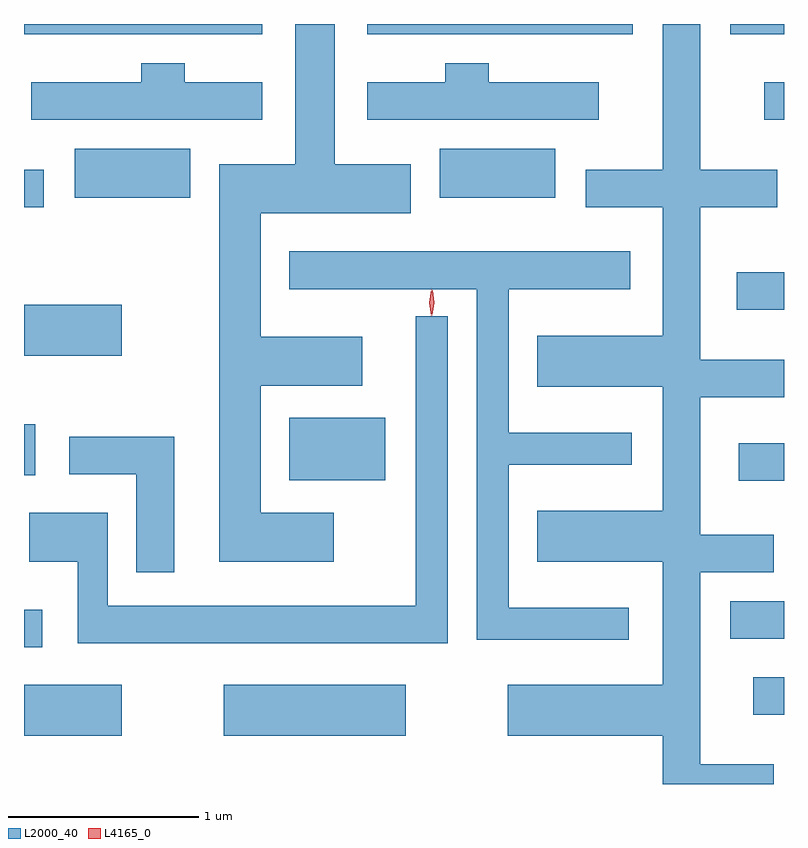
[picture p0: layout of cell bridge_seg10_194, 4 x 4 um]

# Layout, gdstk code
import gdstk
lib = gdstk.Library(unit=1e-6, precision=1e-09)
def R(c, l, rs):  # rectangles x0, y0, x1, y1
    for r in rs: c.add(gdstk.rectangle(r[:2], r[2:], *l))
def P(c, l, *ps):  # polygons
    for p in ps: c.add(gdstk.Polygon(p, *l))
L2000_40 = (2000, 40)
L4165_0 = (4165, 0)

bridge_seg10_194 = lib.new_cell('bridge_seg10_194')
R(bridge_seg10_194, L2000_40, [(1800.449,2139.966,1800.964,2140.234), (1801.501,2139.966,1802.459,2140.234), (1804.286,2140.076,1804.449,2140.274), (1800.449,2140.431,1800.544,2140.629), (1804.166,2140.476,1804.449,2140.674), (1804.211,2141.306,1804.449,2141.504), (1801.846,2141.311,1802.349,2141.639), (1800.449,2141.336,1800.509,2141.604), (1800.449,2141.966,1800.964,2142.234), (1804.201,2142.206,1804.449,2142.404), (1800.449,2142.746,1800.554,2142.944), (1800.716,2142.796,1801.324,2143.054), (1802.636,2142.796,1803.244,2143.054), (1804.346,2143.206,1804.449,2143.404), (1800.449,2143.656,1801.704,2143.711), (1802.256,2143.656,1803.654,2143.711), (1804.166,2143.656,1804.449,2143.711)])
P(bridge_seg10_194, L2000_40, [(1803.151,2142.069),(1803.151,2141.801),(1803.811,2141.801),(1803.811,2141.149),(1803.151,2141.149),(1803.151,2140.881),(1803.811,2140.881),(1803.811,2140.234),(1802.996,2140.234),(1802.996,2139.966),(1803.811,2139.966),(1803.811,2139.711),(1804.394,2139.711),(1804.394,2139.814),(1804.009,2139.814),(1804.009,2140.826),(1804.394,2140.826),(1804.394,2141.024),(1804.009,2141.024),(1804.009,2141.746),(1804.449,2141.746),(1804.449,2141.944),(1804.009,2141.944),(1804.009,2142.746),(1804.414,2142.746),(1804.414,2142.944),(1804.009,2142.944),(1804.009,2143.711),(1803.811,2143.711),(1803.811,2142.944),(1803.406,2142.944),(1803.406,2142.746),(1803.811,2142.746),(1803.811,2142.069)],
  [(1802.079,2141.139),(1801.694,2141.139),(1801.694,2141.806),(1802.229,2141.806),(1802.229,2142.064),(1801.694,2142.064),(1801.694,2142.716),(1802.484,2142.716),(1802.484,2142.974),(1802.084,2142.974),(1802.084,2143.711),(1801.876,2143.711),(1801.876,2142.974),(1801.476,2142.974),(1801.476,2140.881),(1802.079,2140.881)],
  [(1803.474,2143.404),(1802.894,2143.404),(1802.894,2143.504),(1802.666,2143.504),(1802.666,2143.404),(1802.256,2143.404),(1802.256,2143.206),(1803.474,2143.206)],
  [(1801.704,2143.404),(1801.294,2143.404),(1801.294,2143.504),(1801.066,2143.504),(1801.066,2143.404),(1800.486,2143.404),(1800.486,2143.206),(1801.704,2143.206)],
  [(1803.633,2140.639),(1802.999,2140.639),(1802.999,2141.391),(1803.648,2141.391),(1803.648,2141.559),(1802.999,2141.559),(1802.999,2142.316),(1803.639,2142.316),(1803.639,2142.514),(1801.846,2142.514),(1801.846,2142.316),(1802.831,2142.316),(1802.831,2140.471),(1803.633,2140.471)],
  [(1802.679,2142.173),(1802.511,2142.173),(1802.511,2140.649),(1800.889,2140.649),(1800.889,2141.139),(1800.476,2141.139),(1800.476,2140.881),(1800.731,2140.881),(1800.731,2140.451),(1802.679,2140.451)],
  [(1801.239,2141.539),(1800.686,2141.539),(1800.686,2141.341),(1801.041,2141.341),(1801.041,2140.826),(1801.239,2140.826)])
P(bridge_seg10_194, L4165_0, [(1802.597,2142.178),(1802.588,2142.244),(1802.598,2142.31),(1802.598,2142.311),(1802.599,2142.31),(1802.608,2142.244),(1802.598,2142.178),(1802.598,2142.178)],
  [(1802.593,2142.174),(1802.592,2142.175),(1802.583,2142.244),(1802.592,2142.313),(1802.593,2142.314),(1802.593,2142.313),(1802.603,2142.244),(1802.593,2142.175)])

lib.write_gds('bridge_seg10_194.gds')
